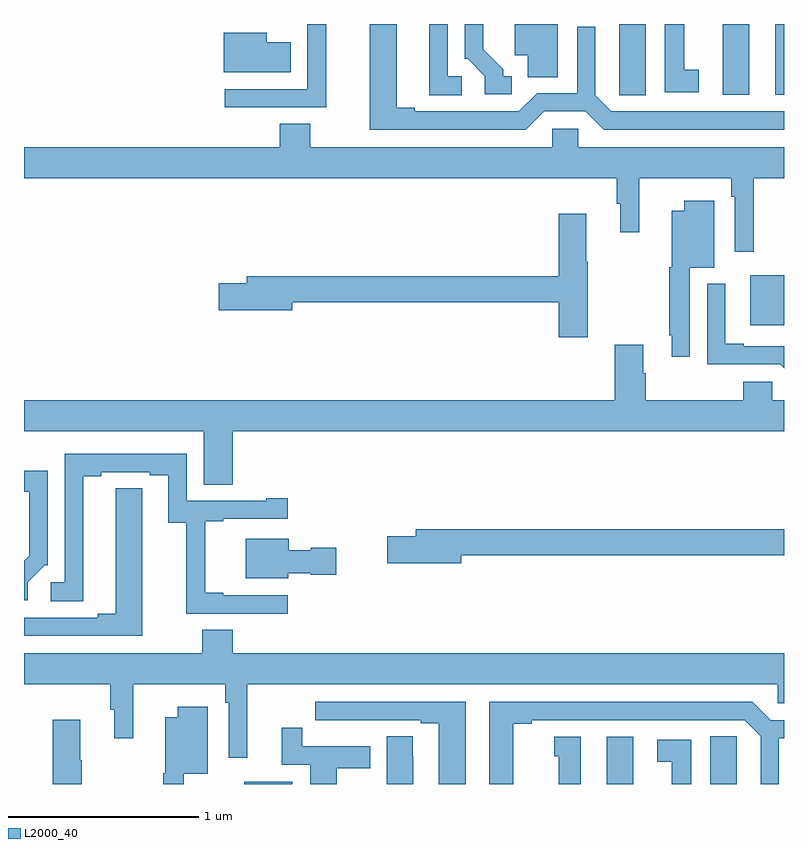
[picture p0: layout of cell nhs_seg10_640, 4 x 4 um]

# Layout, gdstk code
import gdstk
lib = gdstk.Library(unit=1e-6, precision=1e-09)
def R(c, l, rs):  # rectangles x0, y0, x1, y1
    for r in rs: c.add(gdstk.rectangle(r[:2], r[2:], *l))
def P(c, l, *ps):  # polygons
    for p in ps: c.add(gdstk.Polygon(p, *l))
L2000_40 = (2000, 40)

nhs_seg10_640 = lib.new_cell('nhs_seg10_640')
R(nhs_seg10_640, L2000_40, [(144.158,1258.5,144.412,1258.513), (146.066,1258.5,146.206,1258.75), (146.822,1260.914,147,1261.177), (146.678,1262.127,146.818,1262.5), (146.954,1262.127,147,1262.5)])
P(nhs_seg10_640, L2000_40, [(145.737,1262.04),(145.955,1262.04),(146.051,1261.944),(147,1261.944),(147,1262.04),(146.091,1262.04),(146.007,1262.124),(146.007,1262.485),(145.911,1262.485),(145.911,1262.136),(145.701,1262.136),(145.605,1262.04),(145.057,1262.04),(145.057,1262.06),(144.961,1262.06),(144.961,1262.5),(144.821,1262.5),(144.821,1261.944),(145.641,1261.944)],
  [(146.272,1262.5),(146.132,1262.5),(146.132,1262.233),(146.133,1262.233),(146.133,1262.125),(146.272,1262.125)],
  [(144.591,1262.5),(144.492,1262.5),(144.492,1262.157),(144.057,1262.157),(144.057,1262.061),(144.591,1262.061)],
  [(146.551,1262.258),(146.476,1262.258),(146.476,1262.5),(146.372,1262.5),(146.372,1262.142),(146.551,1262.142)],
  [(145.567,1262.226),(145.522,1262.226),(145.522,1262.261),(145.417,1262.366),(145.417,1262.5),(145.32,1262.5),(145.32,1262.316),(145.335,1262.316),(145.425,1262.226),(145.425,1262.13),(145.567,1262.13)],
  [(145.303,1262.226),(145.23,1262.226),(145.23,1262.5),(145.133,1262.5),(145.133,1262.125),(145.303,1262.125)],
  [(145.81,1262.5),(145.583,1262.5),(145.583,1262.336),(145.652,1262.336),(145.652,1262.221),(145.81,1262.221)],
  [(144.403,1262.404),(144.277,1262.404),(144.277,1262.455),(144.05,1262.455),(144.05,1262.246),(144.403,1262.246)],
  [(146.84,1261.688),(147,1261.688),(147,1261.852),(145.917,1261.852),(145.917,1261.95),(145.779,1261.95),(145.779,1261.852),(144.507,1261.852),(144.507,1261.976),(144.347,1261.976),(144.347,1261.852),(143,1261.852),(143,1261.688),(146.119,1261.688),(146.119,1261.554),(146.138,1261.554),(146.138,1261.404),(146.238,1261.404),(146.238,1261.688),(146.722,1261.688),(146.722,1261.592),(146.742,1261.592),(146.742,1261.302),(146.84,1261.302)],
  [(146.505,1261.217),(146.632,1261.217),(146.632,1261.57),(146.474,1261.57),(146.474,1261.516),(146.408,1261.516),(146.408,1261.221),(146.397,1261.221),(146.397,1260.862),(146.408,1260.862),(146.408,1260.75),(146.505,1260.75)],
  [(145.968,1261.249),(145.96,1261.249),(145.96,1261.501),(145.814,1261.501),(145.814,1261.172),(144.173,1261.172),(144.173,1261.136),(144.024,1261.136),(144.024,1260.994),(144.412,1260.994),(144.412,1261.036),(145.814,1261.036),(145.814,1260.852),(145.968,1260.852)],
  [(147,1260.804),(146.788,1260.804),(146.788,1260.817),(146.692,1260.817),(146.692,1261.132),(146.595,1261.132),(146.595,1260.708),(146.979,1260.708),(147,1260.687)],
  [(144.098,1260.356),(147,1260.356),(147,1260.52),(146.937,1260.52),(146.937,1260.618),(146.786,1260.618),(146.786,1260.52),(146.273,1260.52),(146.273,1260.662),(146.26,1260.662),(146.26,1260.811),(146.108,1260.811),(146.108,1260.52),(143,1260.52),(143,1260.356),(143.945,1260.356),(143.945,1260.076),(144.098,1260.076)],
  [(144.388,1259.493),(144.049,1259.493),(144.049,1259.506),(143.954,1259.506),(143.954,1259.883),(144.049,1259.883),(144.049,1259.895),(144.388,1259.895),(144.388,1260.004),(144.275,1260.004),(144.275,1259.991),(143.856,1259.991),(143.856,1260.237),(143.214,1260.237),(143.214,1259.562),(143.142,1259.562),(143.142,1259.461),(143.311,1259.461),(143.311,1260.121),(143.407,1260.121),(143.407,1260.141),(143.663,1260.141),(143.663,1260.126),(143.759,1260.126),(143.759,1259.875),(143.854,1259.875),(143.854,1259.397),(144.388,1259.397)],
  [(143.019,1259.562),(143.109,1259.652),(143.124,1259.652),(143.124,1260.149),(143,1260.149),(143,1260.039),(143.027,1260.039),(143.027,1259.702),(143,1259.675),(143,1259.466),(143.019,1259.466)],
  [(143.623,1259.948),(143.622,1259.948),(143.622,1260.056),(143.483,1260.056),(143.483,1259.396),(143.387,1259.396),(143.387,1259.376),(143,1259.376),(143,1259.28),(143.623,1259.28)],
  [(145.3,1259.704),(147,1259.704),(147,1259.84),(145.061,1259.84),(145.061,1259.804),(144.912,1259.804),(144.912,1259.662),(145.3,1259.662)],
  [(144.39,1259.609),(144.51,1259.609),(144.51,1259.602),(144.643,1259.602),(144.643,1259.744),(144.51,1259.744),(144.51,1259.731),(144.394,1259.731),(144.394,1259.791),(144.167,1259.791),(144.167,1259.582),(144.39,1259.582)],
  [(144.176,1259.024),(146.967,1259.024),(146.967,1258.926),(147,1258.926),(147,1259.188),(144.098,1259.188),(144.098,1259.312),(143.938,1259.312),(143.938,1259.188),(143,1259.188),(143,1259.024),(143.455,1259.024),(143.455,1258.89),(143.474,1258.89),(143.474,1258.74),(143.574,1258.74),(143.574,1259.024),(144.058,1259.024),(144.058,1258.928),(144.078,1258.928),(144.078,1258.638),(144.176,1258.638)],
  [(145.576,1258.816),(145.672,1258.816),(145.672,1258.836),(146.793,1258.836),(146.877,1258.752),(146.877,1258.5),(146.973,1258.5),(146.973,1258.74),(147,1258.74),(147,1258.836),(146.929,1258.836),(146.833,1258.932),(145.448,1258.932),(145.448,1258.5),(145.576,1258.5)],
  [(145.324,1258.932),(144.534,1258.932),(144.534,1258.836),(144.646,1258.836),(144.646,1258.835),(144.812,1258.835),(144.812,1258.836),(145.088,1258.836),(145.088,1258.821),(145.184,1258.821),(145.184,1258.5),(145.324,1258.5)],
  [(143.841,1258.553),(143.968,1258.553),(143.968,1258.906),(143.81,1258.906),(143.81,1258.852),(143.744,1258.852),(143.744,1258.557),(143.733,1258.557),(143.733,1258.5),(143.841,1258.5)],
  [(143.304,1258.624),(143.296,1258.624),(143.296,1258.837),(143.15,1258.837),(143.15,1258.5),(143.304,1258.5)],
  [(144.646,1258.582),(144.823,1258.582),(144.823,1258.698),(144.464,1258.698),(144.464,1258.795),(144.356,1258.795),(144.356,1258.602),(144.506,1258.602),(144.506,1258.5),(144.646,1258.5)],
  [(146.752,1258.643),(146.751,1258.643),(146.751,1258.751),(146.612,1258.751),(146.612,1258.5),(146.752,1258.5)],
  [(145.048,1258.643),(145.047,1258.643),(145.047,1258.751),(144.908,1258.751),(144.908,1258.5),(145.048,1258.5)],
  [(145.93,1258.75),(145.79,1258.75),(145.79,1258.647),(145.814,1258.647),(145.814,1258.5),(145.93,1258.5)],
  [(146.512,1258.734),(146.334,1258.734),(146.334,1258.618),(146.408,1258.618),(146.408,1258.5),(146.512,1258.5)])

lib.write_gds('nhs_seg10_640.gds')
